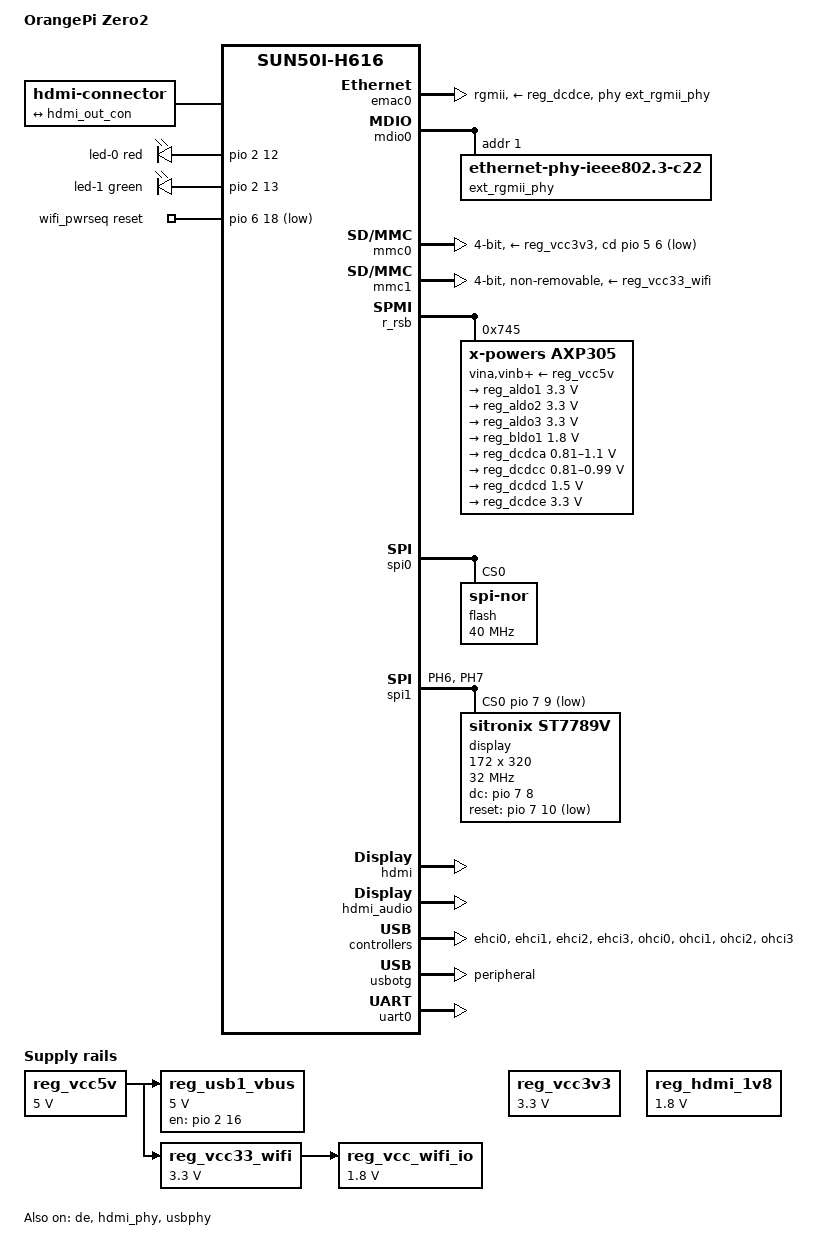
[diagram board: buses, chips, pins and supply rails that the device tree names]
// SPDX-License-Identifier: (GPL-2.0+ or MIT)
/*
 * Copyright (C) 2020 Arm Ltd.
 */

/dts-v1/;

#include "sun50i-h616.dtsi"

#include <dt-bindings/gpio/gpio.h>
#include <dt-bindings/interrupt-controller/arm-gic.h>
#include <dt-bindings/leds/common.h>

/ {
	model = "OrangePi Zero2";
	compatible = "xunlong,orangepi-zero2", "allwinner,sun50i-h616";

	aliases {
		ethernet0 = &emac0;
		serial0 = &uart0;
	};

	chosen {
		stdout-path = "serial0:115200n8";
	};

	connector {
		compatible = "hdmi-connector";
		type = "d";

		port {
			hdmi_con_in: endpoint {
				remote-endpoint = <&hdmi_out_con>;
			};
		};
	};

	leds {
		compatible = "gpio-leds";

		led-0 {
			function = LED_FUNCTION_POWER;
			color = <LED_COLOR_ID_RED>;
			gpios = <&pio 2 12 GPIO_ACTIVE_HIGH>; /* PC12 */
			default-state = "on";
		};

		led-1 {
			function = LED_FUNCTION_STATUS;
			color = <LED_COLOR_ID_GREEN>;
			gpios = <&pio 2 13 GPIO_ACTIVE_HIGH>; /* PC13 */
		};
	};

	reg_vcc5v: vcc5v {
		/* board wide 5V supply directly from the USB-C socket */
		compatible = "regulator-fixed";
		regulator-name = "vcc-5v";
		regulator-min-microvolt = <5000000>;
		regulator-max-microvolt = <5000000>;
		regulator-always-on;
	};

	/* VBUS for the board's USB host ports.  PC16 is the board's
	 * active-high host-power enable, as used by the U-Boot configuration. */
	reg_usb1_vbus: usb1-vbus {
		compatible = "regulator-fixed";
		regulator-name = "usb1-vbus";
		regulator-min-microvolt = <5000000>;
		regulator-max-microvolt = <5000000>;
		vin-supply = <&reg_vcc5v>;
		gpio = <&pio 2 16 GPIO_ACTIVE_HIGH>; /* PC16 */
		enable-active-high;
		status = "okay";
	};

	reg_vcc3v3: vcc3v3 {
	compatible = "regulator-fixed";
	regulator-name = "vcc-3v3";
	regulator-min-microvolt = <3300000>;
	regulator-max-microvolt = <3300000>;
	regulator-always-on;
};

	


	reg_vcc33_wifi: vcc33-wifi {
	/* Always on 3.3V regulator for WiFi and BT */
	compatible = "regulator-fixed";
	regulator-name = "vcc33-wifi";
	regulator-min-microvolt = <3300000>;
	regulator-max-microvolt = <3300000>;
	regulator-always-on;
	vin-supply = <&reg_vcc5v>;
};

	reg_vcc_wifi_io: vcc-wifi-io {
		/* Always on 1.8V/300mA regulator for WiFi and BT IO */
		compatible = "regulator-fixed";
	regulator-name = "vcc-wifi-io";
	regulator-min-microvolt = <1800000>;
	regulator-max-microvolt = <1800000>;
	regulator-always-on;
		vin-supply = <&reg_vcc33_wifi>;
	};

	/*
	 * The AXP305 RSB driver in this Yuzuki kernel cannot register on this board,
	 * although U-Boot leaves the board's HDMI 1.8 V rail enabled.  Do not
	 * make the HDMI DRM driver defer forever on the unavailable PMIC node.
	 */
	reg_hdmi_1v8: hdmi-1v8 {
		compatible = "regulator-fixed";
		regulator-name = "hdmi-1v8";
		regulator-min-microvolt = <1800000>;
		regulator-max-microvolt = <1800000>;
		regulator-always-on;
	};

wifi_pwrseq: wifi-pwrseq {
	compatible = "mmc-pwrseq-simple";
	clocks = <&rtc 1>;
	clock-names = "osc32k-out";
	reset-gpios = <&pio 6 18 GPIO_ACTIVE_LOW>; /* PG18 */
	post-power-on-delay-ms = <200>;
};


};

&emac0 {
	pinctrl-names = "default";
	pinctrl-0 = <&ext_rgmii_pins>;
	phy-mode = "rgmii";
	phy-handle = <&ext_rgmii_phy>;
	phy-supply = <&reg_dcdce>;
	allwinner,rx-delay-ps = <3100>;
	allwinner,tx-delay-ps = <700>;
	status = "okay";
};

&mdio0 {
	ext_rgmii_phy: ethernet-phy@1 {
		compatible = "ethernet-phy-ieee802.3-c22";
		reg = <1>;
	};
};

&mmc0 {
	vmmc-supply = <&reg_vcc3v3>;
	cd-gpios = <&pio 5 6 GPIO_ACTIVE_LOW>;	/* PF6 */
	bus-width = <4>;
	status = "okay";
};
&mmc1 {
	vmmc-supply = <&reg_vcc33_wifi>;
	vqmmc-supply = <&reg_vcc_wifi_io>;
	mmc-pwrseq = <&wifi_pwrseq>;
	bus-width = <4>;
	non-removable;
	mmc-ddr-1_8v;
	status = "okay";
};

&r_rsb {
	status = "okay";

	axp305: pmic@745 {
		compatible = "x-powers,axp305", "x-powers,axp805",
			     "x-powers,axp806";
		interrupt-controller;
		#interrupt-cells = <1>;
		reg = <0x745>;

		x-powers,self-working-mode;
		vina-supply = <&reg_vcc5v>;
		vinb-supply = <&reg_vcc5v>;
		vinc-supply = <&reg_vcc5v>;
		vind-supply = <&reg_vcc5v>;
		vine-supply = <&reg_vcc5v>;
		aldoin-supply = <&reg_vcc5v>;
		bldoin-supply = <&reg_vcc5v>;
		cldoin-supply = <&reg_vcc5v>;

		regulators {
			reg_aldo1: aldo1 {
				regulator-always-on;
				regulator-min-microvolt = <3300000>;
				regulator-max-microvolt = <3300000>;
				regulator-name = "vcc-sys";
			};

			reg_aldo2: aldo2 {	/* 3.3V on headers */
				regulator-always-on;
				regulator-min-microvolt = <3300000>;
				regulator-max-microvolt = <3300000>;
				regulator-name = "vcc3v3-ext";
			};

			reg_aldo3: aldo3 {	/* 3.3V on headers */
				regulator-always-on;
				regulator-min-microvolt = <3300000>;
				regulator-max-microvolt = <3300000>;
				regulator-name = "vcc3v3-ext2";
			};

			reg_bldo1: bldo1 {
				regulator-always-on;
				regulator-min-microvolt = <1800000>;
				regulator-max-microvolt = <1800000>;
				regulator-name = "vcc1v8";
			};

			bldo2 {
				/* unused */
			};

			bldo3 {
				/* unused */
			};

			bldo4 {
				/* unused */
			};

			cldo1 {
				/* reserved */
			};

			cldo2 {
				/* unused */
			};

			cldo3 {
				/* unused */
			};

			reg_dcdca: dcdca {
				regulator-always-on;
				regulator-min-microvolt = <810000>;
				regulator-max-microvolt = <1100000>;
				regulator-name = "vdd-cpu";
			};

			reg_dcdcc: dcdcc {
				regulator-always-on;
				regulator-min-microvolt = <810000>;
				regulator-max-microvolt = <990000>;
				regulator-name = "vdd-gpu-sys";
			};

			reg_dcdcd: dcdcd {
				regulator-always-on;
				regulator-min-microvolt = <1500000>;
				regulator-max-microvolt = <1500000>;
				regulator-name = "vdd-dram";
			};

			reg_dcdce: dcdce {
				regulator-always-on;
				regulator-min-microvolt = <3300000>;
				regulator-max-microvolt = <3300000>;
				regulator-name = "vcc-eth-mmc";
			};

			sw {
				/* unused */
			};
		};
	};
};

&pio {
	vcc-pc-supply = <&reg_vcc3v3>;
	vcc-pf-supply = <&reg_vcc3v3>;
	vcc-pg-supply = <&reg_vcc3v3>;
	vcc-ph-supply = <&reg_vcc3v3>;
	vcc-pi-supply = <&reg_vcc3v3>;

	/* The ST7789 only transmits data, so leave PH8 out of the SPI group and
	 * use it as the panel's DC GPIO. Use PH9 as a GPIO chip-select instead of
	 * native CS1; this is supported by the Yuzuki SPI controller reliably. */
	spi1_tx_pins: spi1-tx-pins {
		pins = "PH6", "PH7";
		function = "spi1";
	};
};

&spi0  {
	status = "okay";
	pinctrl-names = "default";
	pinctrl-0 = <&spi0_pins>;

	flash@0 {
		#address-cells = <1>;
		#size-cells = <1>;
		compatible = "jedec,spi-nor";
		reg = <0>;
		spi-max-frequency = <40000000>;
	};
};

&spi1 {
	status = "okay";
	pinctrl-names = "default";
	pinctrl-0 = <&spi1_tx_pins>;
	/* The Yuzuki DMA request line is not wired correctly on this board.
	 * Remove it so sun6i-spi registers in PIO mode; fbtft remains usable. */
	/delete-property/ dmas;
	/delete-property/ dma-names;
	cs-gpios = <&pio 7 9 GPIO_ACTIVE_LOW>; /* PH9 */

	display@0 {
		/*
		 * The 1.47 inch module is a 4-wire SPI panel: DC and RESET
		 * are discrete GPIOs.  Use the fbtft ST7789V driver, not the
		 * DRM panel driver (which expects a 9-bit SPI bus and a 240x320
		 * RGB panel).
		 */
		compatible = "sitronix,st7789v";
		reg = <0>;
		spi-max-frequency = <32000000>;
		dc-gpios = <&pio 7 8 GPIO_ACTIVE_HIGH>;    /* PH8 */
		reset-gpios = <&pio 7 10 GPIO_ACTIVE_LOW>; /* PH10 */
		buswidth = <8>;
		rotate = <90>;
		width = <172>;
		height = <320>;
		/* 172x320 modules use a 240x320 ST7789 RAM window. With rotate=90,
		 * the portrait X offset becomes a landscape Y offset. */
		y-offset = <34>;
		bgr;
		status = "okay";
	};
};

&de {
	status = "okay";
};

&hdmi {
	hvcc-supply = <&reg_hdmi_1v8>;
	status = "okay";
};

&hdmi_audio {
	status = "okay";
};

&hdmi_phy {
	compatible = "allwinner,sun50i-h616-hdmi-phy",
		     "allwinner,sun50i-h6-hdmi-phy";
	status = "okay";
};

&hdmi_out {
	hdmi_out_con: endpoint {
		remote-endpoint = <&hdmi_con_in>;
	};
};

/* Enable the H616 USB host PHY and all EHCI/OHCI pairs.  The unpopulated
 * ports are harmless, while the board's USB-A host port is supplied by
 * usb1-vbus above. */
&usbphy {
	usb1_vbus-supply = <&reg_usb1_vbus>;
	status = "okay";
};

&ehci0 {
	status = "okay";
};

&ehci1 {
	status = "okay";
};

&ehci2 {
	status = "okay";
};

&ehci3 {
	status = "okay";
};

&ohci0 {
	status = "okay";
};

&ohci1 {
	status = "okay";
};

&ohci2 {
	status = "okay";
};

&ohci3 {
	status = "okay";
};

&usbotg {
	/* USB-C is the board's debug/power OTG connector, not the host port. */
	dr_mode = "peripheral";
	status = "okay";
};

&uart0 {
	pinctrl-names = "default";
	pinctrl-0 = <&uart0_ph_pins>;
	status = "okay";
};
